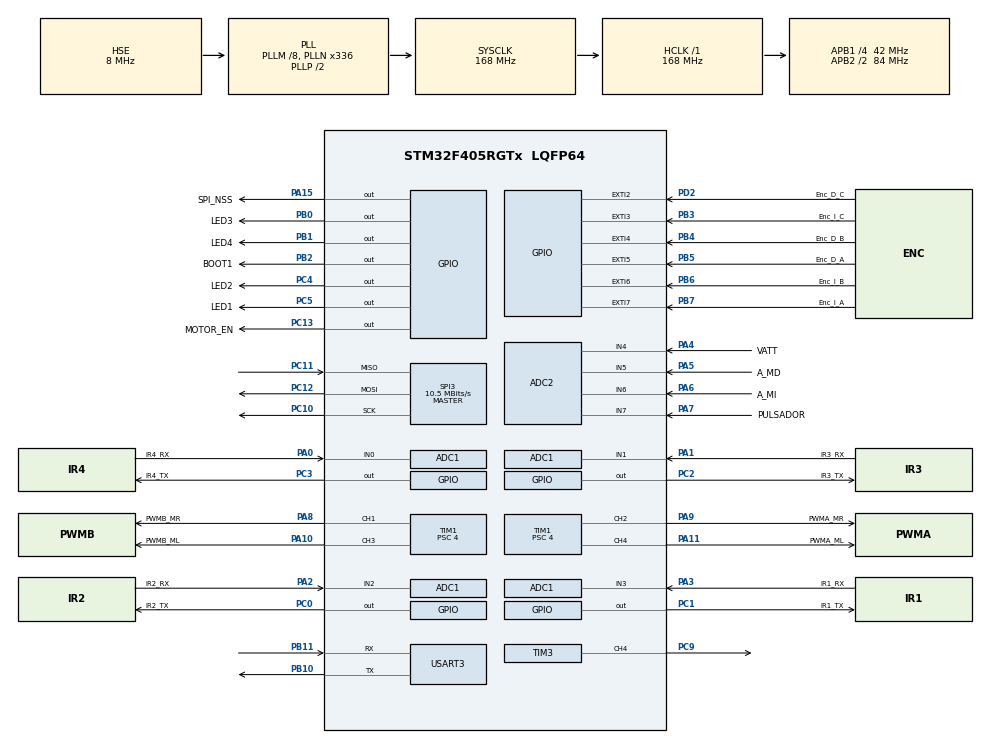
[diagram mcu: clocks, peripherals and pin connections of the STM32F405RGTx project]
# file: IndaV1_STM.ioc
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ADC1.Channel-2\#ChannelRegularConversion=ADC_CHANNEL_3
ADC1.NbrOfConversion=1
ADC1.NbrOfConversionFlag=1
ADC1.Rank-2\#ChannelRegularConversion=1
ADC1.SamplingTime-2\#ChannelRegularConversion=ADC_SAMPLETIME_56CYCLES
ADC1.ScanConvMode=DISABLE
ADC1.master=1
ADC2.Channel-2\#ChannelRegularConversion=ADC_CHANNEL_4
ADC2.Channel-3\#ChannelRegularConversion=ADC_CHANNEL_5
ADC2.Channel-4\#ChannelRegularConversion=ADC_CHANNEL_6
ADC2.Channel-5\#ChannelRegularConversion=ADC_CHANNEL_7
ADC2.DMAContinuousRequests=ENABLE
ADC2.EOCSelection=ADC_EOC_SEQ_CONV
ADC2.NbrOfConversion=4
ADC2.NbrOfConversionFlag=1
ADC2.Rank-2\#ChannelRegularConversion=1
ADC2.Rank-3\#ChannelRegularConversion=2
ADC2.Rank-4\#ChannelRegularConversion=3
ADC2.Rank-5\#ChannelRegularConversion=4
ADC2.SamplingTime-2\#ChannelRegularConversion=ADC_SAMPLETIME_15CYCLES
ADC2.SamplingTime-3\#ChannelRegularConversion=ADC_SAMPLETIME_15CYCLES
ADC2.SamplingTime-4\#ChannelRegularConversion=ADC_SAMPLETIME_15CYCLES
ADC2.SamplingTime-5\#ChannelRegularConversion=ADC_SAMPLETIME_15CYCLES
ADC2.ScanConvMode=ENABLE
Dma.ADC2.0.Direction=DMA_PERIPH_TO_MEMORY
Dma.ADC2.0.FIFOMode=DMA_FIFOMODE_DISABLE
Dma.ADC2.0.Instance=DMA2_Stream2
Dma.ADC2.0.MemDataAlignment=DMA_MDATAALIGN_WORD
Dma.ADC2.0.MemInc=DMA_MINC_ENABLE
Dma.ADC2.0.Mode=DMA_CIRCULAR
Dma.ADC2.0.PeriphDataAlignment=DMA_PDATAALIGN_WORD
Dma.ADC2.0.PeriphInc=DMA_PINC_DISABLE
Dma.ADC2.0.Priority=DMA_PRIORITY_LOW
Dma.Request0=ADC2
Mcu.Family=STM32F4
Mcu.Name=STM32F405RGTx
Mcu.Package=LQFP64
NVIC.DMA2_Stream2_IRQn=true\:0\:0\:false\:false\:true\:false\:true\:true
NVIC.EXTI2_IRQn=true\:0\:0\:false\:false\:true\:true\:true\:true
NVIC.EXTI3_IRQn=true\:0\:0\:false\:false\:true\:true\:true\:true
NVIC.EXTI4_IRQn=true\:0\:0\:false\:false\:true\:true\:true\:true
NVIC.EXTI9_5_IRQn=true\:0\:0\:false\:false\:true\:true\:true\:true
NVIC.PriorityGroup=NVIC_PRIORITYGROUP_4
NVIC.TIM4_IRQn=true\:0\:0\:false\:false\:true\:true\:true\:true
PA0-WKUP.GPIO_Label=IR4_RX
PA0-WKUP.Signal=ADCx_IN0
PA1.GPIO_Label=IR3_RX
PA1.Signal=ADCx_IN1
PA10.GPIO_Label=PWMB_ML
PA10.Signal=S_TIM1_CH3
PA11.GPIO_Label=PWMA_ML
PA11.Signal=S_TIM1_CH4
PA13.Mode=Serial_Wire
PA13.Signal=SYS_JTMS-SWDIO
PA14.Mode=Serial_Wire
PA14.Signal=SYS_JTCK-SWCLK
PA15.GPIO_Label=SPI_NSS
PA15.GPIO_Speed=GPIO_SPEED_FREQ_VERY_HIGH
PA15.PinState=GPIO_PIN_SET
PA15.Signal=GPIO_Output
PA2.GPIO_Label=IR2_RX
PA2.Signal=ADCx_IN2
PA3.GPIO_Label=IR1_RX
PA3.Signal=ADCx_IN3
PA4.GPIO_Label=VATT
PA4.Signal=ADCx_IN4
PA5.GPIO_Label=A_MD
PA5.Signal=ADCx_IN5
PA6.GPIO_Label=A_MI
PA6.Signal=ADCx_IN6
PA7.GPIO_Label=PULSADOR
PA7.Signal=ADCx_IN7
PA8.GPIO_Label=PWMB_MR
PA8.Signal=S_TIM1_CH1
PA9.GPIO_Label=PWMA_MR
PA9.Signal=S_TIM1_CH2
PB0.GPIO_Label=LED3
PB0.Signal=GPIO_Output
PB1.GPIO_Label=LED4
PB1.Signal=GPIO_Output
PB10.Mode=Asynchronous
PB10.Signal=USART3_TX
PB11.Mode=Asynchronous
PB11.Signal=USART3_RX
PB2.GPIO_Label=BOOT1
PB2.Signal=GPIO_Output
PB3.GPIO_Label=Enc_I_C
PB3.GPIO_ModeDefaultEXTI=GPIO_MODE_IT_RISING
PB3.GPIO_PuPd=GPIO_PULLDOWN
PB3.Signal=GPXTI3
PB4.GPIO_Label=Enc_D_B
PB4.GPIO_ModeDefaultEXTI=GPIO_MODE_IT_RISING_FALLING
PB4.GPIO_PuPd=GPIO_PULLDOWN
PB4.Signal=GPXTI4
PB5.GPIO_Label=Enc_D_A
PB5.GPIO_ModeDefaultEXTI=GPIO_MODE_IT_RISING_FALLING
PB5.GPIO_PuPd=GPIO_PULLDOWN
PB5.Signal=GPXTI5
PB6.GPIO_Label=Enc_I_B
PB6.GPIO_ModeDefaultEXTI=GPIO_MODE_IT_RISING_FALLING
PB6.GPIO_PuPd=GPIO_PULLDOWN
PB6.Signal=GPXTI6
PB7.GPIO_Label=Enc_I_A
PB7.GPIO_ModeDefaultEXTI=GPIO_MODE_IT_RISING_FALLING
PB7.GPIO_PuPd=GPIO_PULLDOWN
PB7.Signal=GPXTI7
PC0.GPIO_Label=IR2_TX
PC0.GPIO_Speed=GPIO_SPEED_FREQ_VERY_HIGH
PC0.Signal=GPIO_Output
PC1.GPIO_Label=IR1_TX
PC1.GPIO_Speed=GPIO_SPEED_FREQ_VERY_HIGH
PC1.Signal=GPIO_Output
PC10.Mode=Full_Duplex_Master
PC10.Signal=SPI3_SCK
PC11.Mode=Full_Duplex_Master
PC11.Signal=SPI3_MISO
PC12.Mode=Full_Duplex_Master
PC12.Signal=SPI3_MOSI
PC13-ANTI_TAMP.GPIO_Label=MOTOR_EN
PC13-ANTI_TAMP.Signal=GPIO_Output
PC2.GPIO_Label=IR3_TX
PC2.GPIO_Speed=GPIO_SPEED_FREQ_VERY_HIGH
PC2.Signal=GPIO_Output
PC3.GPIO_Label=IR4_TX
PC3.GPIO_Speed=GPIO_SPEED_FREQ_VERY_HIGH
PC3.Signal=GPIO_Output
PC4.GPIO_Label=LED2
PC4.Signal=GPIO_Output
PC5.GPIO_Label=LED1
PC5.Signal=GPIO_Output
PC9.Signal=S_TIM3_CH4
PD2.GPIO_Label=Enc_D_C
PD2.GPIO_ModeDefaultEXTI=GPIO_MODE_IT_RISING
PD2.GPIO_PuPd=GPIO_PULLDOWN
PD2.Signal=GPXTI2
PH0-OSC_IN.Mode=HSE-External-Oscillator
PH0-OSC_IN.Signal=RCC_OSC_IN
PH1-OSC_OUT.Mode=HSE-External-Oscillator
PH1-OSC_OUT.Signal=RCC_OSC_OUT
ProjectManager.HeapSize=0x200
ProjectManager.StackSize=0x400
ProjectManager.TargetToolchain=STM32CubeIDE
RCC.48MHZClocksFreq_Value=84000000
RCC.AHBFreq_Value=168000000
RCC.APB1CLKDivider=RCC_HCLK_DIV4
RCC.APB1Freq_Value=42000000
RCC.APB1TimFreq_Value=84000000
RCC.APB2CLKDivider=RCC_HCLK_DIV2
RCC.APB2Freq_Value=84000000
RCC.APB2TimFreq_Value=168000000
RCC.CortexFreq_Value=168000000
RCC.HCLKFreq_Value=168000000
RCC.HSE_VALUE=8000000
RCC.HSI_VALUE=16000000
RCC.LSE_VALUE=32768
RCC.PLLM=8
RCC.PLLN=336
RCC.PLLSourceVirtual=RCC_PLLSOURCE_HSE
RCC.SYSCLKFreq_VALUE=168000000
RCC.SYSCLKSource=RCC_SYSCLKSOURCE_PLLCLK
RCC.VCOOutputFreq_Value=336000000
SH.ADCx_IN0.0=ADC1_IN0,IN0
SH.ADCx_IN1.0=ADC1_IN1,IN1
SH.ADCx_IN2.0=ADC1_IN2,IN2
SH.ADCx_IN3.0=ADC1_IN3,IN3
SH.ADCx_IN4.0=ADC2_IN4,IN4
SH.ADCx_IN5.0=ADC2_IN5,IN5
SH.ADCx_IN6.0=ADC2_IN6,IN6
SH.ADCx_IN7.0=ADC2_IN7,IN7
SH.S_TIM1_CH1.0=TIM1_CH1,PWM Generation1 CH1
SH.S_TIM1_CH2.0=TIM1_CH2,PWM Generation2 CH2
SH.S_TIM1_CH3.0=TIM1_CH3,PWM Generation3 CH3
SH.S_TIM1_CH4.0=TIM1_CH4,PWM Generation4 CH4
SH.S_TIM3_CH4.0=TIM3_CH4,PWM Generation4 CH4
SPI3.BaudRatePrescaler=SPI_BAUDRATEPRESCALER_4
SPI3.CalculateBaudRate=10.5 MBits/s
SPI3.Direction=SPI_DIRECTION_2LINES
SPI3.Mode=SPI_MODE_MASTER
SPI3.VirtualType=VM_MASTER
TIM1.Channel-PWM\ Generation1\ CH1=TIM_CHANNEL_1
TIM1.Channel-PWM\ Generation2\ CH2=TIM_CHANNEL_2
TIM1.Channel-PWM\ Generation3\ CH3=TIM_CHANNEL_3
TIM1.Channel-PWM\ Generation4\ CH4=TIM_CHANNEL_4
TIM1.Period=999
TIM1.Prescaler=4
TIM3.Channel-PWM\ Generation4\ CH4=TIM_CHANNEL_4
TIM3.Period=999
TIM3.Prescaler=7
TIM4.Period=59
TIM4.Prescaler=83
USART3.VirtualMode=VM_ASYNC
VP_TIM4_VS_ClockSourceINT.Mode=Internal
board=custom

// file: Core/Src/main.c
/* USER CODE BEGIN Header */
/**
  ******************************************************************************
  * @file           : main.c
  * @brief          : Main program body
  ******************************************************************************
  * @attention
  *
  * Copyright (c) 2026 STMicroelectronics.
  * All rights reserved.
  *
  * This software is licensed under terms that can be found in the LICENSE file
  * in the root directory of this software component.
  * If no LICENSE file comes with this software, it is provided AS-IS.
  *
  ******************************************************************************
  */
/* USER CODE END Header */
#include "main.h"
#include "adc.h"
#include "dma.h"
#include "spi.h"
#include "tim.h"
#include "usart.h"
#include "gpio.h"

/* USER CODE BEGIN Includes */
#include <string.h>
#include <stdio.h>
#include "LIB_MPU6500_SPI.h"
#include "stdbool.h"
#include "LIB_Motores.h"
#include <math.h>
/* USER CODE END Includes */

/* USER CODE BEGIN PTD */

typedef struct
{
	uint32_t debugEncA;
	uint32_t debugEncB;
	uint32_t debugTiempo;
	uint16_t debugPWM;
	float 	 Ax;
	float 	 Ay;
	float 	 Az;
	float 	 Gx;
	float 	 Gy;
	float 	 Gz;

}Debug_Datos;

typedef struct
{
	float	kp;
	float	ki;
	float	kd;
	float	ultimoError;
	float	integral;
	float	winup;
	float	PWM_Maximo;

}PID;

Debug_Datos debugDatos[200];
Motores_Init Motor;
MPU6500_Init_Values_t 	MPU6500_Datos; //Iniciamos donde se guardaran todos los datos a leer
MPU6500_status_e	MPU6500_Status;
MPU6500_Init_float_t	MPU6500_Conv;

PID TestPID={0.8,0.1,0.5 ,0,0,50,100};
PID TestPID2={1.2,0,0 ,0,0,50,100};

/* USER CODE END PTD */

/* USER CODE BEGIN PD */
#define Umbral_Gyro 0.6

/* USER CODE END PD */

/* USER CODE BEGIN PV */

/*
 * Variables para los encoders
 * La relacion de engranajes es de 38/24=1.5833 para los pulsos por vuelta 4096*1.5833=6485
 */
const int8_t estadoTabla[16]={0,-1,1,0,1,0,0,-1,-1,0,0,1,0,1,-1,0}; //valor encoders de tabla de verdad
uint8_t estadoAnterior_L=0;
uint8_t estadoAnterior_R=0;
int32_t ticksD=0;
int32_t ticksI=0;
int32_t contD=0;
int32_t contI=0;

char bufferTxt[30];

uint32_t ADC_Sensores[4];
uint32_t ADC_IR[4];
float    ADC_Distancia[4];
const uint32_t ADC_CanalTX[4]={IR1_TX_Pin,IR2_TX_Pin,IR3_TX_Pin,IR4_TX_Pin};
const uint32_t ADC_CanalRX[4]={3,2,1,0};
const uint8_t ADC_Secuencia[4]={0,2,1,3};
const float ADC_Const_a[4]={982.65,		1232.95,	1604.23	,	826.01};
const float ADC_Const_b[4]={-0.2653,	-0.5104,	-0.4915,	-0.292};
const float ADC_Const_c[4]={-79.8326,	3.9067	,	-5.3567	,	-46.3869};

bool flagDatos_20ms=false;
bool flagPID_3ms=false;
bool flagDistanciaIR=false;

/* USER CODE END PV */

void SystemClock_Config(void);
/* USER CODE BEGIN PFP */

void Inicializar_Sistema();
void MPU6500();
uint32_t ADC_Read_Manual(ADC_HandleTypeDef *hadc, uint32_t channel);
void DEBUG_Encoder();
float funcion_calcularPID(PID* pid,int16_t setpoint,int16_t actual,float dt);

/* USER CODE END PFP */

int main(void)
{

  /* MCU Configuration--------------------------------------------------------*/

  /* Reset of all peripherals, Initializes the Flash interface and the Systick. */
  HAL_Init();

  /* Configure the system clock */
  SystemClock_Config();

  /* Initialize all configured peripherals */
  MX_GPIO_Init();
  MX_DMA_Init();
  MX_SPI3_Init();
  MX_USART3_UART_Init();
  MX_ADC1_Init();
  MX_ADC2_Init();
  MX_TIM1_Init();
  MX_TIM3_Init();
  MX_TIM4_Init();
  /* USER CODE BEGIN 2 */
  Inicializar_Sistema();
  /* USER CODE END 2 */

  /* Infinite loop */
  while (1)
  {

    /* USER CODE BEGIN 3 */
	/*  HAL_Delay(2000);

	  uint32_t tiempo_rampa=1500;
uint32_t tiempo=HAL_GetTick();
uint32_t tiempo_10ms=0;
uint16_t pwmRampa=0;
uint16_t k=2;
uint16_t muestras=0;
Motor.ENABLE=true;
while((HAL_GetTick()-tiempo)<tiempo_rampa)
{
	if((HAL_GetTick()-tiempo_10ms)>10){

		if ((HAL_GetTick()-tiempo)<(0.2*tiempo_rampa))
		{*/
			/*
			 * pasos =0.2*tiempo_rampa/dt(10ms)=60pasos
			 * k=(pwmObjetivo-pwmActual)/pasos
			 * k=3.3
			 * pwm=pwm+k
			 */
		/*	pwmRampa=pwmRampa+k;
		}
		else if((HAL_GetTick()-tiempo)>(0.8*tiempo_rampa))
		{
			pwmRampa=pwmRampa-k;
		}
		else{
			pwmRampa=pwmRampa;
		}
		Motor.PWM_ML=pwmRampa;
		Motor.PWM_MR=pwmRampa;
		PWM_Motores(&Motor);
		debugDatos[muestras].debugTiempo=HAL_GetTick();
		debugDatos[muestras].debugEncA=ticksD;
		debugDatos[muestras].debugEncB=ticksI;
		debugDatos[muestras].debugPWM=pwmRampa;
		MPU6500();
		debugDatos[muestras].Ax=MPU6500_Conv.MPU6500_floatAX;
		debugDatos[muestras].Ay=MPU6500_Conv.MPU6500_floatAY;
		debugDatos[muestras].Az=MPU6500_Conv.MPU6500_floatAZ;
		debugDatos[muestras].Gx=MPU6500_Conv.MPU6500_floatGX;
		debugDatos[muestras].Gy=MPU6500_Conv.MPU6500_floatGY;
		debugDatos[muestras].Gz=MPU6500_Conv.MPU6500_floatGZ;

		muestras++;
		tiempo_10ms=HAL_GetTick();
	}
}
HAL_Delay(2000);
HAL_GPIO_WritePin(LED1_GPIO_Port, LED1_Pin, 1);
uint16_t adcPul=0;

while(1)
{
	adcPul=(uint16_t)ADC_Read_Manual(&hadc1, 7);
		if(adcPul<4065 && adcPul>4000)
		{
			break;
		}
}
for (int var = 0; var < muestras; ++var) {
	sprintf(bufferTxt,"%ld,%d,%0.2f,%0.2f,%0.2f",debugDatos[var].debugTiempo, debugDatos[var].debugPWM,debugDatos[var].Ax,debugDatos[var].Ay,debugDatos[var].Az);
	HAL_UART_Transmit(&huart3, (uint8_t *)bufferTxt, strlen(bufferTxt), HAL_MAX_DELAY);
	sprintf(bufferTxt,",%0.2f,%0.2f,%0.2f\n",debugDatos[var].Gx,debugDatos[var].Gy,debugDatos[var].Gz);
		HAL_UART_Transmit(&huart3, (uint8_t *)bufferTxt, strlen(bufferTxt), HAL_MAX_DELAY);

HAL_Delay(10);

}
HAL_GPIO_WritePin(LED1_GPIO_Port, LED1_Pin, 0);

ticksD=0;
ticksI=0;
for (int var = 0; var < muestras; ++var) {
	debugDatos[var].debugTiempo=0;
	debugDatos[var].debugEncA=0;
	debugDatos[var].debugEncB=0;
	debugDatos[var].debugPWM=0;

}
*/

if(flagDistanciaIR==true){
		for (int var = 0; var < 4; ++var) {
			ADC_Distancia[var]=ADC_Const_a[var]*powf((float)ADC_IR[var],ADC_Const_b[var])+ADC_Const_c[var];
		}
	flagDistanciaIR=false;
  }

static float voltaje=0;
static uint8_t pulsador=0;
if (flagDatos_20ms==true)
{
	voltaje=(ADC_Sensores[0]*3.35)/4095;
	voltaje*=2.74074;

	if (ADC_Sensores[3]>3950)pulsador=1;
		else if (ADC_Sensores[3]>2650 && ADC_Sensores[3]<2850)pulsador=2;
			else if (ADC_Sensores[3]>1000 && ADC_Sensores[3]<1200)pulsador=3;
	flagDatos_20ms=false;
}
static float error=0;

static float pwmgiro,pwmdistancia=0;

if(flagPID_3ms==true)
{
	MPU6500_Read(&MPU6500_Datos);
	MPU6500_Conv=MPU6500_Converter(&MPU6500_Datos);

	/// test con 2 pid para mantener la distancia contra la pared

	/*error=(((ADC_Distancia[0]+ADC_Distancia[3])/2)-80);
	if(ADC_Distancia[0]>200 || ADC_Distancia[3]>200)
	{
		pwmgiro=funcion_calcularPID(&TestPID,0 , 0, 0.02);
		pwmdistancia=-funcion_calcularPID(&TestPID2,0, 0, 0.02);
	}
	else{
		pwmgiro=funcion_calcularPID(&TestPID,0 , ADC_Distancia[0]-ADC_Distancia[3], 0.02);
		    pwmdistancia=-funcion_calcularPID(&TestPID2,0, error, 0.02);
	}*/

	if(MPU6500_Conv.MPU6500_floatGZ<Umbral_Gyro && MPU6500_Conv.MPU6500_floatGZ>-Umbral_Gyro)
	{
		MPU6500_Conv.MPU6500_floatGZ=0;
	}
	if(MPU6500_Conv.MPU6500_floatGY<Umbral_Gyro && MPU6500_Conv.MPU6500_floatGY>-Umbral_Gyro)
		{
			MPU6500_Conv.MPU6500_floatGY=0;
		}
	if(MPU6500_Conv.MPU6500_floatGX<Umbral_Gyro && MPU6500_Conv.MPU6500_floatGX>-Umbral_Gyro)
		{
			MPU6500_Conv.MPU6500_floatGX=0;
		}
	error=error+MPU6500_Conv.MPU6500_floatGZ*0.003;

	pwmgiro=funcion_calcularPID(&TestPID,90 ,error , 0.02);
	Motor.ENABLE=false;
	Motor.PWM_MR=(int16_t)(pwmdistancia+pwmgiro);
	Motor.PWM_ML=(int16_t)(pwmdistancia-pwmgiro);
	PWM_Motores(&Motor);

flagPID_3ms=false;
}
static uint32_t tiempo=0;
static uint16_t sumador_reset_error=0;
if(sumador_reset_error>60)
{
	error=0;
	sumador_reset_error=0;
}
if((HAL_GetTick()-tiempo)>500)
{sumador_reset_error++;
/*
	sprintf(bufferTxt,"vol=%0.2f, ",voltaje);
		HAL_UART_Transmit(&huart3, (uint8_t *)bufferTxt, strlen(bufferTxt), HAL_MAX_DELAY);
		sprintf(bufferTxt,"pulso=%d ",pulsador);
			HAL_UART_Transmit(&huart3, (uint8_t *)bufferTxt, strlen(bufferTxt), HAL_MAX_DELAY);
*/
	/*
	for (int var = 0; var < 4; ++var) {
		sprintf(bufferTxt,"A%d=%0.2f, ",var,ADC_Distancia[var]);
			HAL_UART_Transmit(&huart3, (uint8_t *)bufferTxt, strlen(bufferTxt), HAL_MAX_DELAY);

	}

*/
/*	sprintf(bufferTxt,"A=%0.2f, ",ADC_Distancia[0]);
	HAL_UART_Transmit(&huart3, (uint8_t *)bufferTxt, strlen(bufferTxt), HAL_MAX_DELAY);
	sprintf(bufferTxt,"D=%0.2f, ",ADC_Distancia[3]);
		HAL_UART_Transmit(&huart3, (uint8_t *)bufferTxt, strlen(bufferTxt), HAL_MAX_DELAY);
*/
	sprintf(bufferTxt,"giro=%0.2f, ",error);
	HAL_UART_Transmit(&huart3, (uint8_t *)bufferTxt, strlen(bufferTxt), HAL_MAX_DELAY);
	sprintf(bufferTxt,"pwm=%0.2f, ",pwmgiro);
		HAL_UART_Transmit(&huart3, (uint8_t *)bufferTxt, strlen(bufferTxt), HAL_MAX_DELAY);

	MPU6500();
sprintf(bufferTxt,"\r\n");
HAL_UART_Transmit(&huart3, (uint8_t *)bufferTxt, strlen(bufferTxt), HAL_MAX_DELAY);
tiempo=HAL_GetTick();
}

  }

  /* USER CODE END 3 */
}

void SystemClock_Config(void)
{
  RCC_OscInitTypeDef RCC_OscInitStruct = {0};
  RCC_ClkInitTypeDef RCC_ClkInitStruct = {0};

  /** Configure the main internal regulator output voltage
  */
  __HAL_RCC_PWR_CLK_ENABLE();
  __HAL_PWR_VOLTAGESCALING_CONFIG(PWR_REGULATOR_VOLTAGE_SCALE1);

  /** Initializes the RCC Oscillators according to the specified parameters
  * in the RCC_OscInitTypeDef structure.
  */
  RCC_OscInitStruct.OscillatorType = RCC_OSCILLATORTYPE_HSE;
  RCC_OscInitStruct.HSEState = RCC_HSE_ON;
  RCC_OscInitStruct.PLL.PLLState = RCC_PLL_ON;
  RCC_OscInitStruct.PLL.PLLSource = RCC_PLLSOURCE_HSE;
  RCC_OscInitStruct.PLL.PLLM = 8;
  RCC_OscInitStruct.PLL.PLLN = 336;
  RCC_OscInitStruct.PLL.PLLP = RCC_PLLP_DIV2;
  RCC_OscInitStruct.PLL.PLLQ = 4;
  if (HAL_RCC_OscConfig(&RCC_OscInitStruct) != HAL_OK)
  {
    Error_Handler();
  }

  /** Initializes the CPU, AHB and APB buses clocks
  */
  RCC_ClkInitStruct.ClockType = RCC_CLOCKTYPE_HCLK|RCC_CLOCKTYPE_SYSCLK
                              |RCC_CLOCKTYPE_PCLK1|RCC_CLOCKTYPE_PCLK2;
  RCC_ClkInitStruct.SYSCLKSource = RCC_SYSCLKSOURCE_PLLCLK;
  RCC_ClkInitStruct.AHBCLKDivider = RCC_SYSCLK_DIV1;
  RCC_ClkInitStruct.APB1CLKDivider = RCC_HCLK_DIV4;
  RCC_ClkInitStruct.APB2CLKDivider = RCC_HCLK_DIV2;

  if (HAL_RCC_ClockConfig(&RCC_ClkInitStruct, FLASH_LATENCY_5) != HAL_OK)
  {
    Error_Handler();
  }
}

/* USER CODE BEGIN 4 */
void HAL_GPIO_EXTI_Callback(uint16_t GPIO_Pin)
{

	if(GPIO_Pin==Enc_D_A_Pin||GPIO_Pin==Enc_D_B_Pin)
		{
		uint8_t bitStatusL=((HAL_GPIO_ReadPin(Enc_D_A_GPIO_Port, Enc_D_A_Pin))?2:0) | ((HAL_GPIO_ReadPin(Enc_D_B_GPIO_Port, Enc_D_B_Pin))?1:0);
		ticksD+=(-estadoTabla[((estadoAnterior_L<<2)|bitStatusL)]);
		estadoAnterior_L=bitStatusL;
		}
	if(GPIO_Pin==Enc_I_A_Pin||GPIO_Pin==Enc_I_B_Pin)
	{
		uint8_t bitStatusR=((HAL_GPIO_ReadPin(Enc_I_A_GPIO_Port, Enc_I_A_Pin))?2:0) | ((HAL_GPIO_ReadPin(Enc_I_B_GPIO_Port, Enc_I_B_Pin))?1:0);
		ticksI+=(estadoTabla[((estadoAnterior_R<<2)|bitStatusR)]);
		estadoAnterior_R=bitStatusR;
	}
	if(GPIO_Pin==Enc_D_C_Pin)
	{
		contD++;
	}
	if(GPIO_Pin==Enc_I_C_Pin)
	{
		contI++;
	}
}

void Inicializar_Sistema()
{
	/*
	 * Inicializar PWM Timer 1 para motores
	 */
	Inicializar_Motores(&Motor);
	Inicializar_Motor_Coreless();

	HAL_GPIO_WritePin(LED1_GPIO_Port, LED1_Pin, 0);
	HAL_GPIO_WritePin(LED2_GPIO_Port, LED2_Pin, 0);
	HAL_GPIO_WritePin(LED3_GPIO_Port, LED3_Pin, 0);
	HAL_GPIO_WritePin(LED4_GPIO_Port, LED4_Pin, 0);

	HAL_GPIO_WritePin(IR1_TX_GPIO_Port, IR1_TX_Pin, GPIO_PIN_RESET);
	HAL_GPIO_WritePin(IR2_TX_GPIO_Port, IR2_TX_Pin, GPIO_PIN_RESET);
	HAL_GPIO_WritePin(IR3_TX_GPIO_Port, IR3_TX_Pin, GPIO_PIN_RESET);
	HAL_GPIO_WritePin(IR4_TX_GPIO_Port, IR4_TX_Pin, GPIO_PIN_RESET);

	LED1_GPIO_Port->BSRR=(uint32_t)LED1_Pin;
	HAL_Delay(1000);
	MPU6500_Status=MPU6500_Init(&MPU6500_Datos,50,DPS250,G2);
	if (MPU6500_Status==MPU6500_fail) {
		for (;;) {
			sprintf(bufferTxt,"Fallo al iniciar MPU\r\n");
			HAL_UART_Transmit(&huart3, (uint8_t *)bufferTxt, strlen(bufferTxt), HAL_MAX_DELAY);
			HAL_GPIO_TogglePin(LED4_GPIO_Port, LED4_Pin);
			HAL_Delay(500);
		}
	}
	sprintf(bufferTxt," Exito al iniciar MPU\r\n");
	HAL_UART_Transmit(&huart3, (uint8_t *)bufferTxt, strlen(bufferTxt), HAL_MAX_DELAY);
	LED1_GPIO_Port->BSRR=(uint32_t)LED1_Pin<<16;
	HAL_ADC_Start_DMA(&hadc2, ADC_Sensores, 4);
	HAL_TIM_Base_Start_IT(&htim4);

}
void HAL_TIM_PeriodElapsedCallback(TIM_HandleTypeDef *htim) {
    if (htim->Instance == TIM4) {

    	static volatile uint16_t Timer_20ms=0;
    	static volatile uint16_t Timer_3ms=0;
    	static uint8_t canal = 0;

    	if(Timer_20ms++>334)
    	{
    		///habilitar DMA
    		ADC2->CR2|=ADC_CR2_SWSTART;
    		flagDatos_20ms=true;
    		Timer_20ms=0;
    	}
    	if(Timer_3ms++>50)
    	{
    	flagPID_3ms=true;
    	Timer_3ms=0;
    	}

       	GPIOC->BSRR=(uint32_t)(IR1_TX_Pin|IR2_TX_Pin|IR3_TX_Pin|IR4_TX_Pin)<<16;

        GPIOC->BSRR = ADC_CanalTX[ADC_Secuencia[canal]];
        // 2. CAMBIAR CANAL EN EL ADC
           // Escribimos en SQR3 (los bits 0-4 definen el Rank 1)
           // Esto le dice al ADC: "En el próximo SWSTART, lee este canal específico"
        ADC1->SQR3 = ADC_CanalRX[ADC_Secuencia[canal]];

        for (int var = 0; var < 200; ++var) {
			__NOP();
		}

       	// 1. Asegurar que el ADC esté encendido
       	if (!(ADC1->CR2 & ADC_CR2_ADON)) ADC1->CR2 |= ADC_CR2_ADON;

       	// 2. Limpiar banderas y disparar
       	ADC1->SR = 0;
       	ADC1->CR2 |= ADC_CR2_SWSTART;

       	// 3. Verificar si el ADC aceptó el disparo
       	// Si el reloj del ADC es incorrecto, SWSTART se queda en 0
       	while(!(ADC1->SR & ADC_SR_EOC));

       	ADC_IR[ADC_Secuencia[canal]] = ADC1->DR;

       	canal++;
       	if (canal>3) {
       		flagDistanciaIR=true;
		canal=0;
		}

    	GPIOC->BSRR=(uint32_t)(IR1_TX_Pin|IR2_TX_Pin|IR3_TX_Pin|IR4_TX_Pin)<<16;

    }
}

void MPU6500()
{

	sprintf(bufferTxt," Gx= %.2f ",MPU6500_Conv.MPU6500_floatGX);
	HAL_UART_Transmit(&huart3, (uint8_t *)bufferTxt, strlen(bufferTxt), HAL_MAX_DELAY);

	sprintf(bufferTxt," Gy= %.2f ",MPU6500_Conv.MPU6500_floatGY);
	HAL_UART_Transmit(&huart3, (uint8_t *)bufferTxt, strlen(bufferTxt), HAL_MAX_DELAY);

	sprintf(bufferTxt," Gz= %.2f ",MPU6500_Conv.MPU6500_floatGZ);
	HAL_UART_Transmit(&huart3, (uint8_t *)bufferTxt, strlen(bufferTxt), HAL_MAX_DELAY);

	sprintf(bufferTxt," Ax= %.2f ",MPU6500_Conv.MPU6500_floatAX);
	HAL_UART_Transmit(&huart3, (uint8_t *)bufferTxt, strlen(bufferTxt), HAL_MAX_DELAY);

	sprintf(bufferTxt," Ay= %.2f ",MPU6500_Conv.MPU6500_floatAY);
	HAL_UART_Transmit(&huart3, (uint8_t *)bufferTxt, strlen(bufferTxt), HAL_MAX_DELAY);

	sprintf(bufferTxt," Az= %.2f \r\n",MPU6500_Conv.MPU6500_floatAZ);
	HAL_UART_Transmit(&huart3, (uint8_t *)bufferTxt, strlen(bufferTxt), HAL_MAX_DELAY);

}
void DEBUG_Encoder()
{
	sprintf(bufferTxt," I= %ld ",ticksI);
	HAL_UART_Transmit(&huart3, (uint8_t *)bufferTxt, strlen(bufferTxt), HAL_MAX_DELAY);

	sprintf(bufferTxt," contI= %ld ",contI);
	HAL_UART_Transmit(&huart3, (uint8_t *)bufferTxt, strlen(bufferTxt), HAL_MAX_DELAY);

		sprintf(bufferTxt," D= %ld ",ticksD);
		HAL_UART_Transmit(&huart3, (uint8_t *)bufferTxt, strlen(bufferTxt), HAL_MAX_DELAY);

		sprintf(bufferTxt," contD= %ld \r\n",contD);
	HAL_UART_Transmit(&huart3, (uint8_t *)bufferTxt, strlen(bufferTxt), HAL_MAX_DELAY);
	  	HAL_Delay(300);
}
/**
 * @brief PID para los motores
 * @param PID: se debe mandar una estructura con los datos del pid a controlar
 * @paran setpoint: valor a cual se quiere llegar
 * @param actual: valor leido por los sensores
 * @param dt: Tiempo de muestreo segun timer puede variar
 */
float funcion_calcularPID(PID* pid,int16_t setpoint,int16_t actual,float dt)
{
	float error=(float)(setpoint-actual);
	float P=error*pid->kp;

	pid->integral=pid->integral+error;
	if(pid->integral>(pid->winup))pid->integral=(pid->winup);
	if(pid->integral<-(pid->winup))pid->integral=-(pid->winup);

	float I=pid->ki*pid->integral;

	float D=pid->kd*(error-pid->ultimoError);
	pid->ultimoError=error;

	float PIDout=P+I+D;
	if(PIDout>(pid->PWM_Maximo))PIDout=(pid->PWM_Maximo);
	if(PIDout<-(pid->PWM_Maximo))PIDout=-(pid->PWM_Maximo);
	return PIDout;
}

/* USER CODE END 4 */

void Error_Handler(void)
{
  __disable_irq();
  while (1)
  {
  }
}
